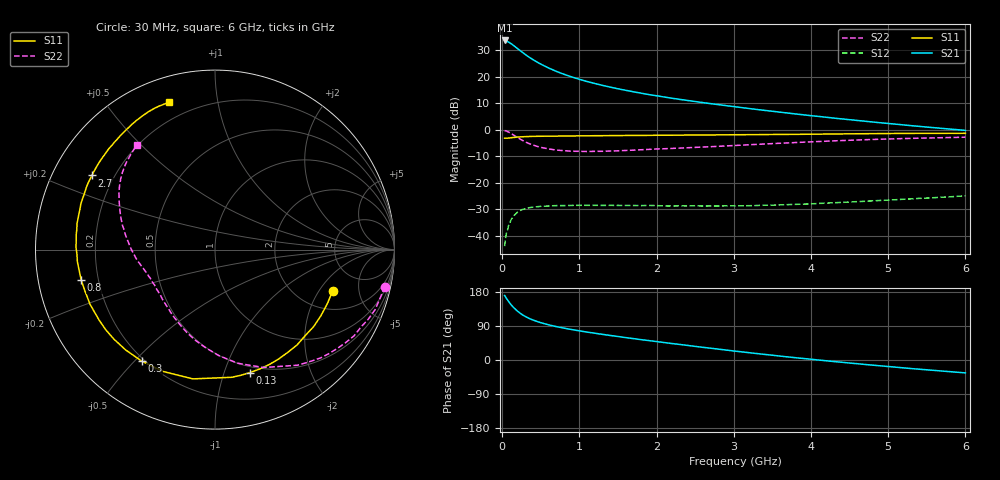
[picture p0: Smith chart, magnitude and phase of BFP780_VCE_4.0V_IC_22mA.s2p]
! Infineon Technologies  Discrete & RF Semiconductors
! BFP780
! VCE =  4.0 V,  IC =  22 mA
! Common Emitter S-Parameters:  Jul 2015
# GHz  S  MA  R  50
!  f  S11  S21  S12  S22
! GHz  MAG  ANG  MAG  ANG  MAG  ANG  MAG  ANG
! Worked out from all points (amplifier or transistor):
!   75 points, 30 MHz to 6 GHz, reference 50 ohm
!   highest |S21| = 33.7 dB at 30 MHz (marker M1)
!   |S21| within 3 dB of that: start of sweep to 194.3 MHz
!   unconditionally stable (mu >= 1): 2.278 GHz to end of sweep
!   at 150 MHz: K = 0.10, MSG = 32.0 dB, |S12| = -32.4 dB
!   at 2.3 GHz: K = 1.01, MAG = 19.5 dB, |S12| = -28.7 dB
!   at 6 GHz: K = 1.31, MAG = 9.0 dB, |S12| = -24.9 dB
!   S11 on the Smith chart (normalised r, x): 30 MHz: 3.01, -2.68; 130 MHz: 0.44, -1.22; 300 MHz: 0.19, -0.52; 800 MHz: 0.14, -0.11; 2.7 GHz: 0.12, +0.27; 6 GHz: 0.12, +0.73
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0.03  0.6949 -19.4  48.39 170.3  0.0064 75.8  0.9682 -12.3
0.05  0.6957 -31.9  47.41 163.7  0.0107 72.6  0.9529 -20.5
0.08  0.701 -49.3  45.2 154.9  0.0155 66.1  0.9115 -31.8
0.1  0.7052 -59.9  43.41 149.5  0.0178 58.7  0.8766 -38.8
0.13  0.7122 -74.3  40.55 142.1  0.0217 54.5  0.8231 -48.8
0.15  0.7175 -82.5  38.5 137.7  0.0241 49.8  0.7905 -54.6
0.2  0.7307 -99.7  33.75 128.3  0.0283 42.9  0.7101 -67.7
0.25  0.7379 -113.0  29.68 120.7  0.0311 36.2  0.6457 -78.7
0.3  0.7437 -123.4  26.18 114.6  0.0326 31.1  0.5906 -88.0
0.35  0.7485 -131.7  23.3 109.6  0.034 27.8  0.5475 -95.8
0.4  0.7524 -138.5  20.93 105.3  0.0349 24.7  0.5148 -102.7
0.5  0.7557 -148.7  17.28 98.4  0.0361 20.2  0.4663 -113.8
0.6  0.76 -156.3  14.63 92.8  0.0366 17.0  0.4359 -122.8
0.8  0.7646 -167.1  11.14 84.1  0.0373 13.1  0.4043 -135.9
1.1  0.7696 -178.1  8.123 73.6  0.0377 9.4  0.3902 -149.4
1.5  0.7781 171.6  5.932 62.0  0.0375 7.5  0.4015 -160.9
2.1  0.7903 159.4  4.145 46.0  0.0367 5.9  0.4397 -172.9
2.7  0.8 148.9  3.114 31.1  0.0367 8.1  0.4805 176.1
3.1  0.8084 142.4  2.625 21.6  0.0369 9.9  0.5143 168.8
4.1  0.8289 127.6  1.786 -0.1  0.0409 14.8  0.6014 152.7
5.1  0.853 115.8  1.276 -19.0  0.0481 15.9  0.6775 138.8
6  0.8592 107.4  0.976 -34.0  0.0568 13.3  0.7255 126.8
